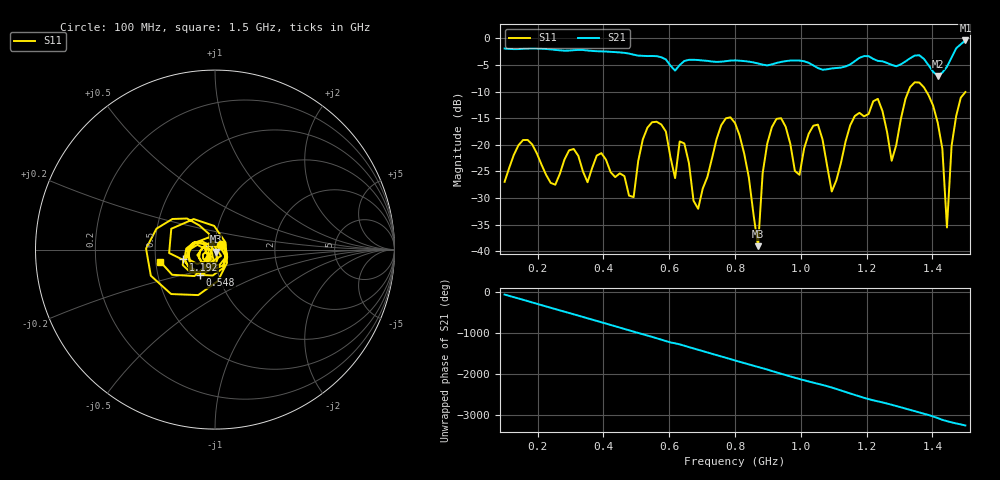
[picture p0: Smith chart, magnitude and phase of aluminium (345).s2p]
! NanoVNA-App
! Date: 2025-09-25 14:57:58
! Start: 100MHz Stop: 1,5GHz Points: 101
! S-Parameter data: F S11 S21 S12 S22
# Hz S RI R 50
!  Frequency  S11_Real  S11_Imag  S21_Real  S21_Imag  S12_Real  S12_Imag  S22_Real  S22_Imag
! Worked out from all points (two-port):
!   101 points, 100 MHz to 1.5 GHz, reference 50 ohm
!   highest |S21| = -0.41 dB at 1.5 GHz (marker M1); lowest = -7.1 dB at 1.416 GHz (marker M2)
!   |S21| within 3 dB of the highest: start of sweep to 565.3 MHz; 1.46 GHz to end of sweep (the widest 2 of 4)
!   lowest |S11| = -39.0 dB at 870 MHz (marker M3), VSWR 1.02, Z = 50.3 - j1.09 ohm
!   |S11| at or under -10 dB: start of sweep to 1.327 GHz; 1.381 GHz to end of sweep
!   S12 and S22 are empty: the file has one direction only
!   S11 on the Smith chart (normalised r, x): 100 MHz: 1.07, +0.06; 548 MHz: 0.82, -0.24; 1.192 GHz: 0.70, -0.08; 1.5 GHz: 0.53, -0.08
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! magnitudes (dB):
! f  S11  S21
! 100 MHz  -27.0  -1.9
! 156 MHz  -19.1  -2.0
! 338 MHz  -25.0  -2.2
! 492 MHz  -29.8  -3.1
! 548 MHz  -15.8  -3.3
! 576 MHz  -16.2  -3.6
! 646 MHz  -19.8  -4.3
! 688 MHz  -32.0  -4.1
! 800 MHz  -15.9  -4.2
! 870 MHz  -39.0  -4.7
! 912 MHz  -16.7  -4.9
! 996 MHz  -25.6  -4.2
! 1.038 GHz  -16.4  -5.1
! 1.094 GHz  -28.8  -5.7
! 1.192 GHz  -14.7  -3.3
! 1.234 GHz  -11.4  -4.2
! 1.276 GHz  -23.0  -5.0
! 1.346 GHz  -8.3  -3.3
! 1.416 GHz  -15.9  -7.1
! 1.444 GHz  -35.5  -5.3
! 1.458 GHz  -20.2  -3.6
! 1.5 GHz  -10.1  -0.4
